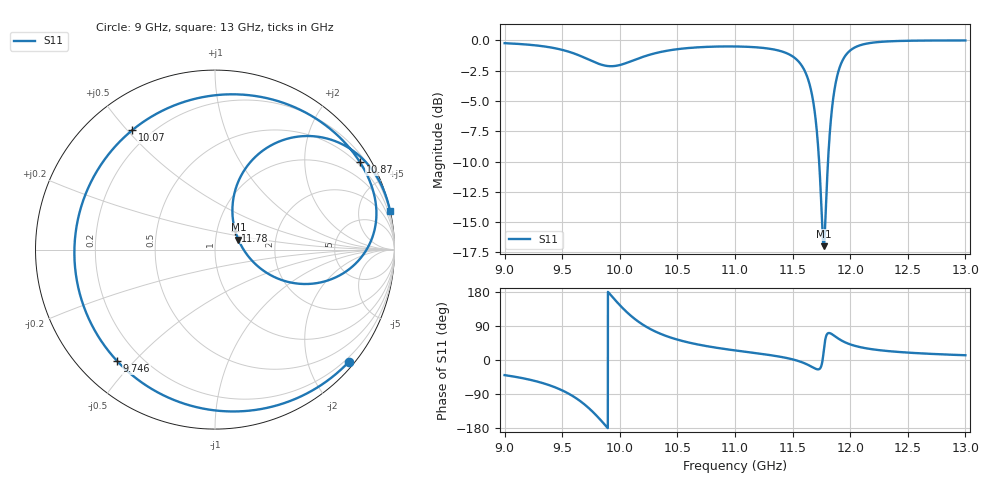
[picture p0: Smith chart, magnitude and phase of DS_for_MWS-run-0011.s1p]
! TOUCHSTONE file generated by CST DESIGN STUDIO
! Date and time: Tue Feb  4 17:41:49 2025
! Project name: C:\Work\MatlabApps\UnitCellOptimizationMatlab\CST\unitcell.cst
! Tree item: Tasks\Sweep1\SPara1\S-Parameters
! Header version: 2024
! Port assignment regex: !\s*Touchstone port\s*([0-9]+)\s*=\s*(CST MWS port|CST DES external port|CST DES block port)\s*(.+)\s* \(\"(.*)\"\)(\s*mode\s*([0-9]+))?.*
! Touchstone port assignment:
! Touchstone port 1 = CST DES external port 1 ("")
# GHz S MA R 50
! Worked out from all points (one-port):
!   4001 points, 9 GHz to 13 GHz, reference 50 ohm
!   lowest |S11| = -17.0 dB at 11.77 GHz (marker M1), VSWR 1.33, Z = 64.5 + j7.35 ohm
!   |S11| at or under -10 dB: 11.73 GHz to 11.81 GHz (77.23 MHz wide, 0.656 % of centre)
!   S11 on the Smith chart (normalised r, x): 9 GHz: 0.12, -2.75; 9.746 GHz: 0.11, -0.45; 10.07 GHz: 0.13, +0.52; 10.87 GHz: 0.40, +3.56; 11.78 GHz: 1.22, +0.27; 13 GHz: 0.04, +9.07
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9  0.9735 -39.9
9.282  0.952 -56.8
9.5  0.9136 -80.2
9.635  0.8711 -103.8
9.746  0.8264 -131.2
9.877  0.7858 -173.2
10  0.7909 144.8
10.067  0.8096 124.6
10.144  0.8359 105.1
10.232  0.8644 87.3
10.359  0.8964 68.4
10.5  0.9195 53.8
10.867  0.9432 31.0
11  0.9435 25.3
11.5  0.8587 1.7
11.598  0.7601 -7.9
11.672  0.584 -18.9
11.723  0.3558 -24.8
11.756  0.1762 -7.6
11.77  0.1414 23.3
11.778  0.1543 43.3
11.823  0.4147 70.9
11.86  0.6104 64.3
11.915  0.7888 53.1
12  0.9084 41.2
12.177  0.9757 29.0
12.5  0.996 19.5
13  0.9989 12.6
